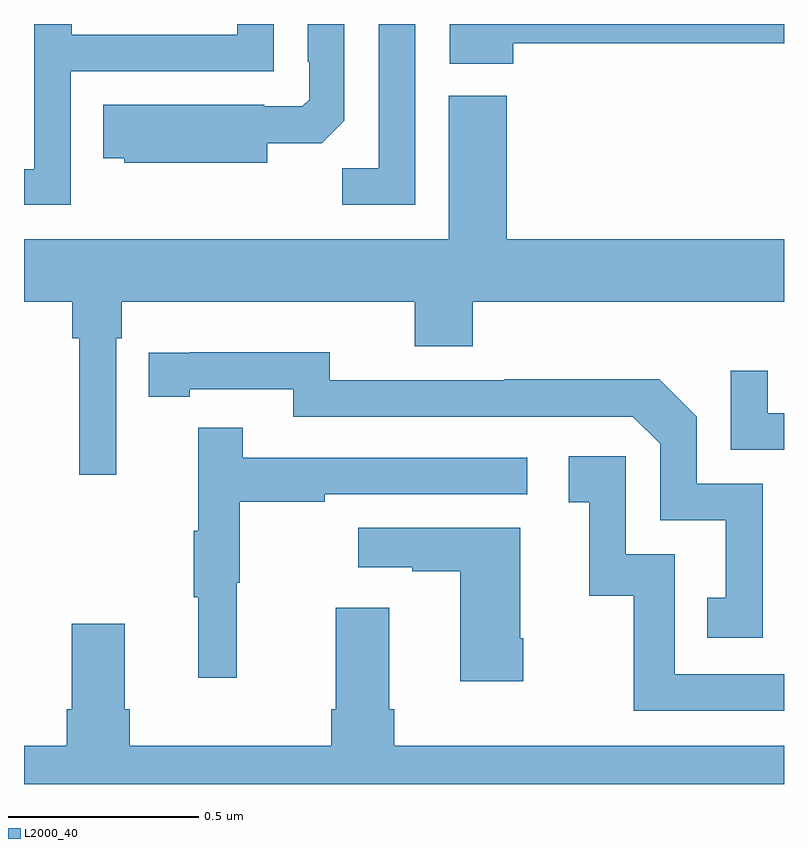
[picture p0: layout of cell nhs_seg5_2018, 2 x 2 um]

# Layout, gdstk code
import gdstk
lib = gdstk.Library(unit=1e-6, precision=1e-09)
def P(c, l, *ps):  # polygons
    for p in ps: c.add(gdstk.Polygon(p, *l))
L2000_40 = (2000, 40)

nhs_seg5_2018 = lib.new_cell('nhs_seg5_2018')
P(nhs_seg5_2018, L2000_40, [(139.288,882.748),(140,882.748),(140,882.799),(139.121,882.799),(139.121,882.695),(139.288,882.695)],
  [(138.123,882.675),(138.657,882.675),(138.657,882.799),(138.561,882.799),(138.561,882.771),(138.125,882.771),(138.125,882.799),(138.027,882.799),(138.027,882.417),(138,882.417),(138,882.324),(138.123,882.324)],
  [(139.029,882.799),(138.933,882.799),(138.933,882.419),(138.838,882.419),(138.838,882.324),(139.029,882.324)],
  [(138.64,882.485),(138.784,882.485),(138.843,882.544),(138.843,882.799),(138.747,882.799),(138.747,882.7),(138.75,882.7),(138.75,882.6),(138.732,882.582),(138.632,882.582),(138.632,882.586),(138.208,882.586),(138.208,882.446),(138.264,882.446),(138.264,882.434),(138.64,882.434)],
  [(138.243,881.972),(138.257,881.972),(138.257,882.068),(139.028,882.068),(139.028,881.951),(139.181,881.951),(139.181,882.068),(140,882.068),(140,882.232),(139.271,882.232),(139.271,882.61),(139.118,882.61),(139.118,882.232),(138,882.232),(138,882.068),(138.127,882.068),(138.127,881.972),(138.146,881.972),(138.146,881.613),(138.243,881.613)],
  [(139.944,881.589),(139.77,881.589),(139.77,881.766),(139.672,881.864),(139.264,881.864),(139.264,881.862),(138.804,881.862),(138.804,881.935),(138.436,881.935),(138.436,881.934),(138.328,881.934),(138.328,881.818),(138.436,881.818),(138.436,881.838),(138.708,881.838),(138.708,881.766),(139.602,881.766),(139.674,881.694),(139.674,881.493),(139.847,881.493),(139.847,881.289),(139.798,881.289),(139.798,881.184),(139.944,881.184)],
  [(140,881.775),(139.957,881.775),(139.957,881.887),(139.86,881.887),(139.86,881.679),(140,881.679)],
  [(138.56,881.328),(138.568,881.328),(138.568,881.542),(138.791,881.542),(138.791,881.562),(139.324,881.562),(139.324,881.658),(138.575,881.658),(138.575,881.737),(138.458,881.737),(138.458,881.465),(138.447,881.465),(138.447,881.291),(138.458,881.291),(138.458,881.079),(138.56,881.079)],
  [(140,881.088),(139.713,881.088),(139.713,881.403),(139.584,881.403),(139.584,881.662),(139.434,881.662),(139.434,881.541),(139.487,881.541),(139.487,881.295),(139.605,881.295),(139.605,880.992),(140,880.992)],
  [(139.314,881.182),(139.306,881.182),(139.306,881.473),(138.879,881.473),(138.879,881.369),(139.022,881.369),(139.022,881.359),(139.148,881.359),(139.148,881.07),(139.314,881.07)],
  [(140,880.9),(138.974,880.9),(138.974,880.996),(138.961,880.996),(138.961,881.263),(138.821,881.263),(138.821,880.996),(138.809,880.996),(138.809,880.9),(138.278,880.9),(138.278,880.996),(138.265,880.996),(138.265,881.221),(138.125,881.221),(138.125,880.996),(138.113,880.996),(138.113,880.9),(138,880.9),(138,880.799),(140,880.799)])

lib.write_gds('nhs_seg5_2018.gds')
